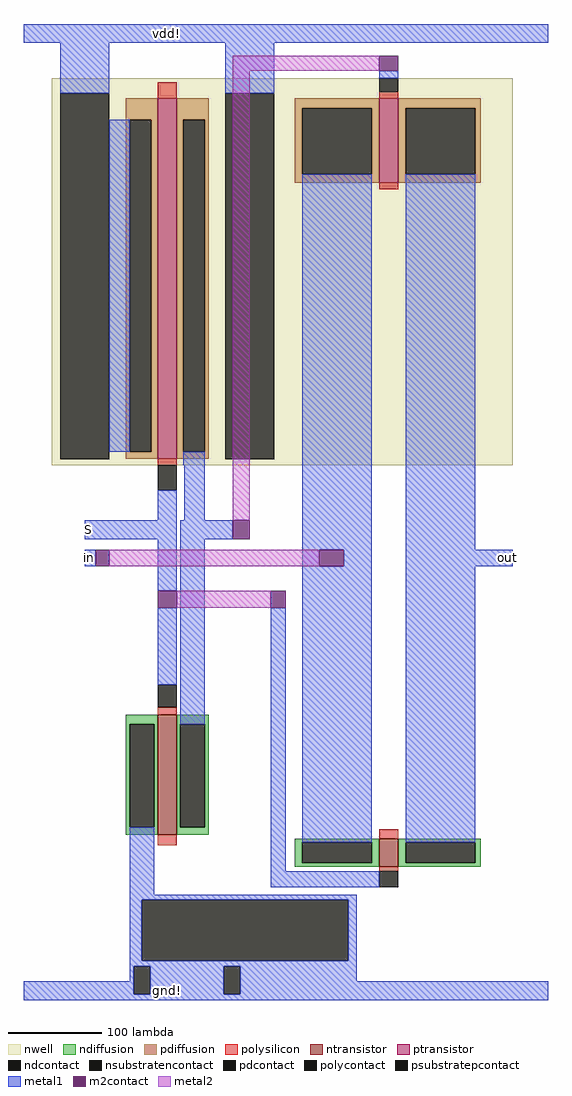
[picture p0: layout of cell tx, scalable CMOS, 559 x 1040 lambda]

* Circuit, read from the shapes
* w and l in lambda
.subckt tx S gnd! in out vdd!
M1 n1 S gnd! gnd! nfet w=128 l=20
M2 out S in gnd! nfet w=30 l=20
M3 n1 S vdd! vdd! pfet w=384 l=20
M4 out n1 in vdd! pfet w=90 l=20
.ends

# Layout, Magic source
magic
tech scmos
<< nwell >>
rect -127 106 364 518
<< polysilicon >>
rect -14 497 6 514
rect -14 106 6 113
rect 222 497 242 504
rect 222 400 242 407
rect -14 -160 6 -152
rect -14 -299 6 -288
rect 222 -292 242 -282
rect 222 -327 242 -322
<< ndiffusion >>
rect -48 -170 -14 -160
rect -48 -280 -44 -170
rect -18 -280 -14 -170
rect -48 -288 -14 -280
rect 6 -170 40 -160
rect 6 -280 10 -170
rect 36 -280 40 -170
rect 6 -288 40 -280
rect 132 -296 222 -292
rect 132 -318 140 -296
rect 214 -318 222 -296
rect 132 -322 222 -318
rect 242 -296 330 -292
rect 242 -318 250 -296
rect 324 -318 330 -296
rect 242 -322 330 -318
<< pdiffusion >>
rect -48 474 -14 497
rect -48 120 -44 474
rect -21 120 -14 474
rect -48 113 -14 120
rect 6 474 40 497
rect 6 120 13 474
rect 36 120 40 474
rect 6 113 40 120
rect 132 486 222 497
rect 132 416 140 486
rect 214 416 222 486
rect 132 407 222 416
rect 242 486 330 497
rect 242 416 250 486
rect 324 416 330 486
rect 242 407 330 416
<< metal1 >>
rect -157 556 402 576
rect -118 502 -66 556
rect 58 502 110 556
rect 222 518 242 526
rect -66 120 -44 474
rect 13 106 36 120
rect -14 47 6 79
rect 14 47 36 106
rect -92 27 6 47
rect -92 -2 -80 16
rect -14 -28 6 27
rect -14 -128 6 -46
rect 10 27 66 47
rect 10 -170 36 27
rect 140 16 214 416
rect 140 -2 158 16
rect 184 -2 214 16
rect -44 -352 -18 -280
rect 106 -327 122 -46
rect 140 -296 214 -2
rect 250 16 324 416
rect 250 -2 364 16
rect 250 -296 324 -2
rect 106 -344 222 -327
rect -44 -357 198 -352
rect -44 -422 -31 -357
rect 189 -422 198 -357
rect -44 -428 198 -422
rect -44 -444 -40 -428
rect -157 -458 -40 -444
rect -22 -458 56 -428
rect 74 -444 198 -428
rect 74 -458 402 -444
rect -157 -464 402 -458
<< metal2 >>
rect 66 526 222 542
rect 66 47 84 526
rect -66 -2 158 16
rect 6 -46 106 -28
<< ntransistor >>
rect -14 -288 6 -160
rect 222 -322 242 -292
<< ptransistor >>
rect -14 113 6 497
rect 222 407 242 497
<< polycontact >>
rect 222 504 242 518
rect -14 79 6 106
rect -14 -152 6 -128
rect 222 -344 242 -327
<< ndcontact >>
rect -44 -280 -18 -170
rect 10 -280 36 -170
rect 140 -318 214 -296
rect 250 -318 324 -296
<< pdcontact >>
rect -44 120 -21 474
rect 13 120 36 474
rect 140 416 214 486
rect 250 416 324 486
<< m2contact >>
rect 222 526 242 542
rect -80 -2 -66 16
rect -14 -46 6 -28
rect 66 27 84 47
rect 158 -2 184 16
rect 106 -46 122 -28
<< psubstratepcontact >>
rect -31 -422 189 -357
rect -40 -458 -22 -428
rect 56 -458 74 -428
<< nsubstratencontact >>
rect -118 112 -66 502
rect 58 112 110 502
<< labels >>
rlabel metal1 -5 566 -5 566 1 vdd!
rlabel metal1 -4 -454 -4 -454 1 gnd!
rlabel metal1 -88 37 -88 37 1 S
rlabel metal1 -87 7 -87 7 1 in
rlabel metal1 359 7 359 7 1 out
<< end >>
